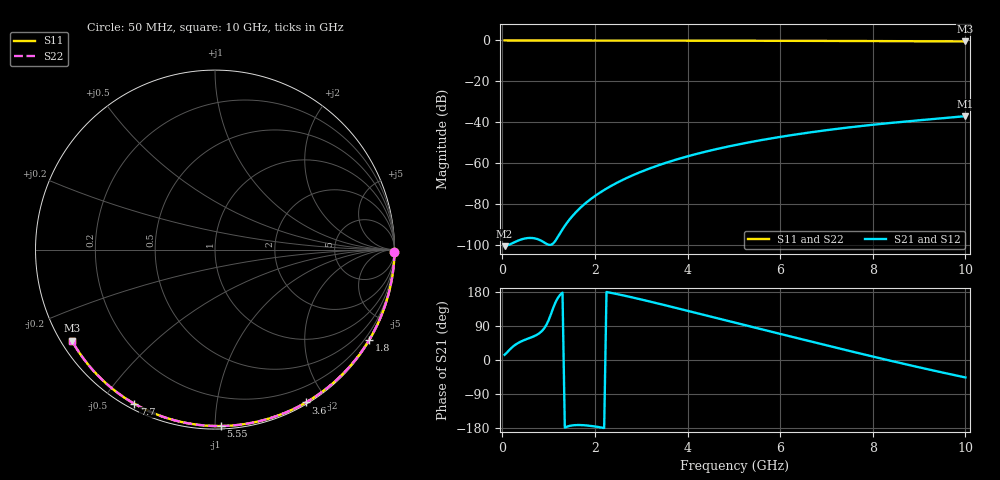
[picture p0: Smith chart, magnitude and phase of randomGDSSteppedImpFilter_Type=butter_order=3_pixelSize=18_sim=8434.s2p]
! freq	dB(S11)	phase(S11)	dB(S12)	phase(S12)
!  dB(S21)	phase(S21)	dB(S22)	phase(S22)
!S-par simulation data
#  GHz  S  DB  R 50
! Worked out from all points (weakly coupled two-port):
!   200 points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, 50 MHz to 10 GHz, reference 50 ohm
!   highest |S21| = -37.10 dB at 10 GHz (marker M1); lowest = -100.8 dB at 50 MHz (marker M2)
!   lowest |S11| = -0.5 dB at 10 GHz (marker M3), VSWR 35.38, Z = 1.53 - j14.5 ohm
!   |S11| at or under -10 dB: nowhere
!   |S22| runs from -0.5 to 0.0 dB; largest |S21 - S12| = 0
!   S11 on the Smith chart (normalised r, x): 50 MHz: open; 1.8 GHz: 0.03, -3.68; 3.6 GHz: 0.02, -1.76; 5.55 GHz: 0.02, -1.03; 7.7 GHz: 0.02, -0.61; 10 GHz: 0.03, -0.29
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0.05  -0.00 -0.9  -100.81 13.7  -100.81 13.7  -0.00 -0.9
0.45  -0.01 -7.7  -97.24 51.4  -97.24 51.4  -0.01 -7.7
0.9  -0.02 -15.4  -98.91 82.7  -98.91 82.7  -0.02 -15.4
1.3  -0.03 -22.1  -92.58 177.7  -92.58 177.7  -0.03 -22.1
1.75  -0.04 -29.6  -80.68 -172.1  -80.68 -172.1  -0.04 -29.6
1.8  -0.04 -30.4  -79.70 -172.5  -79.70 -172.5  -0.04 -30.4
1.95  -0.04 -32.9  -77.05 -174.6  -77.05 -174.6  -0.04 -32.9
2.1  -0.04 -35.3  -74.70 -177.3  -74.70 -177.3  -0.04 -35.3
2.3  -0.05 -38.6  -71.92 178.3  -71.92 178.3  -0.05 -38.6
2.5  -0.05 -41.9  -69.46 173.4  -69.46 173.4  -0.05 -41.9
2.9  -0.06 -48.3  -65.25 162.5  -65.25 162.5  -0.06 -48.3
3.4  -0.07 -56.2  -60.95 148.0  -60.95 148.0  -0.07 -56.2
3.6  -0.08 -59.3  -59.46 142.0  -59.46 142.0  -0.08 -59.3
4.3  -0.10 -69.9  -55.00 120.7  -55.00 120.7  -0.10 -69.9
5.05  -0.12 -81.0  -51.17 97.7  -51.17 97.7  -0.12 -81.0
5.55  -0.14 -88.2  -49.00 82.5  -49.00 82.5  -0.14 -88.2
6.1  -0.17 -95.9  -46.90 65.9  -46.90 65.9  -0.17 -95.9
6.7  -0.20 -104.2  -44.88 47.8  -44.88 47.8  -0.20 -104.2
7.7  -0.27 -117.6  -42.05 17.9  -42.05 17.9  -0.27 -117.6
8.35  -0.32 -126.1  -40.51 -1.0  -40.51 -1.0  -0.32 -126.1
9.2  -0.40 -137.1  -38.71 -24.8  -38.71 -24.8  -0.40 -137.1
10  -0.49 -147.5  -37.10 -46.1  -37.10 -46.1  -0.49 -147.5
